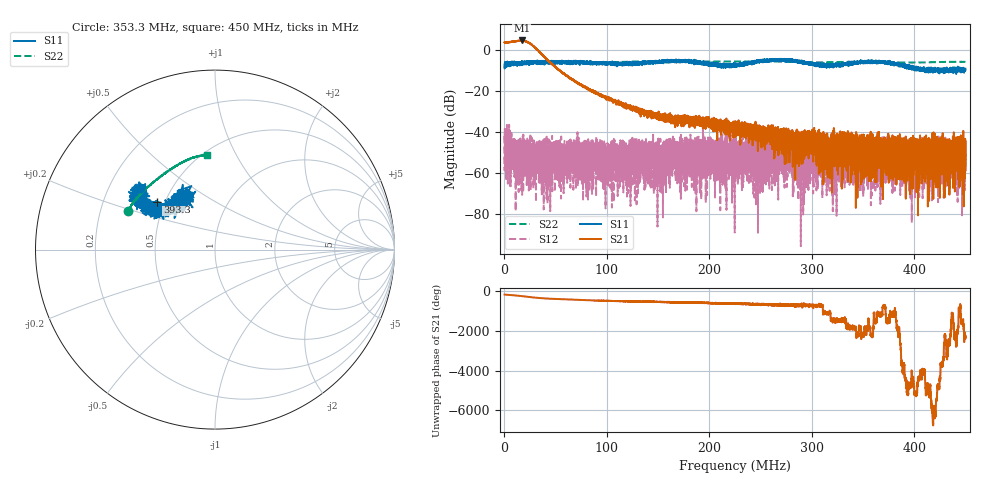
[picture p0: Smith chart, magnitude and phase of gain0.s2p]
# Hz S DB R 50
! CMT, M5065, 19127446, 24.2.4/2
! Date: 12/3/2024 4:32:22 PM
! Data: Format (Calibration Info)
! Freq	S11:dB/Ang(F2)	S21:dB/Ang(F2)	S12:dB/Ang(F2)	S22:dB/Ang(F2)
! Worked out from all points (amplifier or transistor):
!   9000 points, 300 kHz to 450 MHz, reference 50 ohm
!   highest |S21| = 4.9 dB at 17.09 MHz (marker M1)
!   |S21| within 3 dB of that: start of sweep to 28.87 MHz
!   unconditionally stable (mu >= 1): start of sweep to end of sweep
!   at 75.26 MHz: K = 490.98, MAG = -13.9 dB, |S12| = -48.9 dB
!   at 225.2 MHz: K = 7960.82, MAG = -34.3 dB, |S12| = -52.2 dB
!   at 450 MHz: K = 37017.29, MAG = -42.5 dB, |S12| = -56.9 dB
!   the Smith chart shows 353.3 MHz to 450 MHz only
!   S11 on the Smith chart (normalised r, x): 353.3 MHz: 0.33, +0.32; 393.3 MHz: 0.46, +0.29; 450 MHz: 0.62, +0.40
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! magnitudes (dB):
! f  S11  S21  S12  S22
! 300 kHz  -7.9  4.0  -41.9  -5.9
! 4.847 MHz  -6.8  4.2  -48.4  -5.9
! 17.09 MHz  -7.2  4.9  -51.8  -5.9
! 75.26 MHz  -5.3  -16.8  -48.9  -5.7
! 150.2 MHz  -5.8  -33.2  -63.6  -5.2
! 187.2 MHz  -5.3  -34.5  -48.6  -5.3
! 213.9 MHz  -8.1  -35.7  -50.6  -5.4
! 225.2 MHz  -7.1  -36.7  -52.2  -5.4
! 268.5 MHz  -5.0  -39.1  -44.0  -5.5
! 273.6 MHz  -4.8  -39.6  -46.2  -5.5
! 278.6 MHz  -4.9  -42.3  -49.0  -5.6
! 289.3 MHz  -6.1  -49.5  -52.8  -5.7
! 300.1 MHz  -6.5  -43.5  -48.6  -5.8
! 318 MHz  -6.9  -46.0  -48.6  -5.7
! 331.8 MHz  -6.3  -46.1  -42.9  -5.6
! 353.3 MHz  -5.3  -44.9  -48.2  -5.5
! 375.1 MHz  -5.4  -47.9  -58.0  -5.7
! 383.3 MHz  -5.9  -55.9  -48.9  -5.8
! 393.3 MHz  -7.6  -50.3  -49.7  -5.9
! 446.2 MHz  -9.9  -44.7  -43.1  -5.5
! 450 MHz  -9.6  -58.9  -52.1  -5.6
! 450 MHz  -8.9  -44.5  -56.9  -5.6
